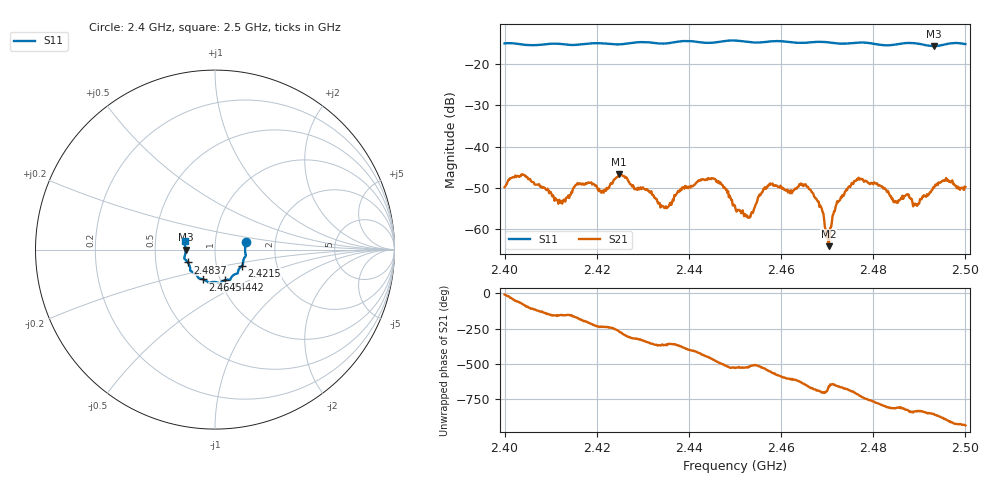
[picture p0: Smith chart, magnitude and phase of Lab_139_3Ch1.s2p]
# Hz S RI R 50
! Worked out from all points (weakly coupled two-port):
!   601 points, 2.4 GHz to 2.5 GHz, reference 50 ohm
!   highest |S21| = -46.64 dB at 2.4248 GHz (marker M1); lowest = -64.1 dB at 2.4703 GHz (marker M2)
!   lowest |S11| = -15.7 dB at 2.4932 GHz (marker M3), VSWR 1.39, Z = 36 - j0.0571 ohm
!   |S11| at or under -10 dB: start of sweep to end of sweep
!   S12 and S22 are empty: the file has one direction only
!   S11 on the Smith chart (normalised r, x): 2.4 GHz: 1.41, +0.12; 2.4215 GHz: 1.33, -0.25; 2.4442 GHz: 1.05, -0.37; 2.4645 GHz: 0.83, -0.29; 2.4837 GHz: 0.73, -0.11; 2.5 GHz: 0.71, +0.07
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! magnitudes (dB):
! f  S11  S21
! 2.4 GHz  -15.1  -49.8
! 2.4042 GHz  -15.4  -46.8
! 2.4122 GHz  -15.2  -53.6
! 2.4167 GHz  -15.3  -49.2
! 2.4215 GHz  -15.1  -51.1
! 2.4248 GHz  -15.3  -46.6
! 2.4333 GHz  -15.1  -53.8
! 2.4442 GHz  -15.0  -47.6
! 2.4473 GHz  -14.6  -49.3
! 2.45 GHz  -14.4  -54.4
! 2.4528 GHz  -14.7  -57.2
! 2.4575 GHz  -14.6  -49.3
! 2.4645 GHz  -15.0  -49.3
! 2.4667 GHz  -14.8  -51.0
! 2.4703 GHz  -14.8  -64.1
! 2.4723 GHz  -15.1  -53.5
! 2.4763 GHz  -14.9  -48.2
! 2.4833 GHz  -15.6  -51.1
! 2.4837 GHz  -15.5  -52.0
! 2.4892 GHz  -15.1  -53.8
! 2.4932 GHz  -15.7  -50.0
! 2.5 GHz  -15.3  -49.8
